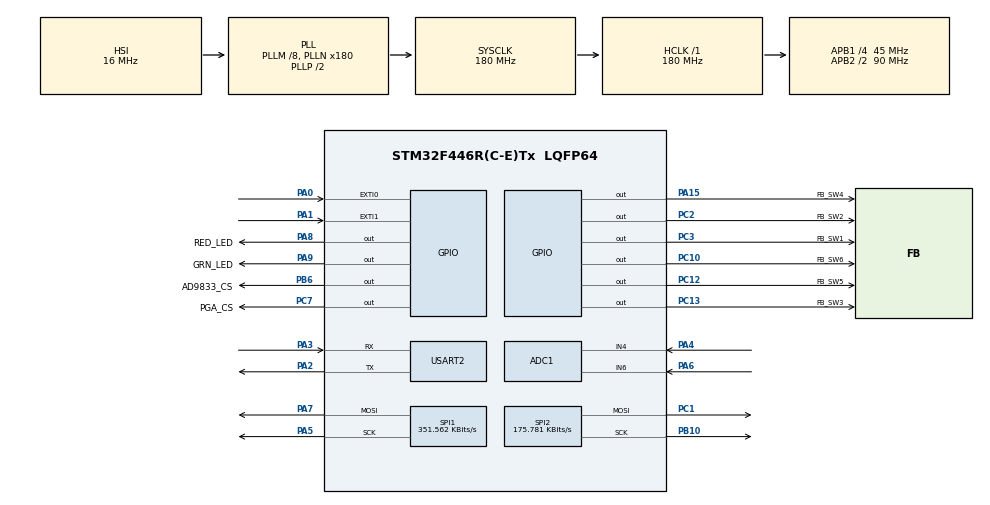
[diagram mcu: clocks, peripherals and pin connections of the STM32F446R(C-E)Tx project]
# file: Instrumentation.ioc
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ADC1.Channel-3\#ChannelRegularConversion=ADC_CHANNEL_4
ADC1.Channel-4\#ChannelRegularConversion=ADC_CHANNEL_6
ADC1.Channel-5\#ChannelRegularConversion=ADC_CHANNEL_TEMPSENSOR
ADC1.ClockPrescaler=ADC_CLOCK_SYNC_PCLK_DIV6
ADC1.ContinuousConvMode=ENABLE
ADC1.DMAContinuousRequests=ENABLE
ADC1.NbrOfConversion=3
ADC1.NbrOfConversionFlag=1
ADC1.Rank-3\#ChannelRegularConversion=1
ADC1.Rank-4\#ChannelRegularConversion=2
ADC1.Rank-5\#ChannelRegularConversion=3
ADC1.SamplingTime-3\#ChannelRegularConversion=ADC_SAMPLETIME_3CYCLES
ADC1.SamplingTime-4\#ChannelRegularConversion=ADC_SAMPLETIME_3CYCLES
ADC1.SamplingTime-5\#ChannelRegularConversion=ADC_SAMPLETIME_3CYCLES
ADC1.master=1
Dma.ADC1.0.Direction=DMA_PERIPH_TO_MEMORY
Dma.ADC1.0.FIFOMode=DMA_FIFOMODE_DISABLE
Dma.ADC1.0.Instance=DMA2_Stream0
Dma.ADC1.0.MemDataAlignment=DMA_MDATAALIGN_HALFWORD
Dma.ADC1.0.MemInc=DMA_MINC_ENABLE
Dma.ADC1.0.Mode=DMA_CIRCULAR
Dma.ADC1.0.PeriphDataAlignment=DMA_PDATAALIGN_HALFWORD
Dma.ADC1.0.PeriphInc=DMA_PINC_DISABLE
Dma.ADC1.0.Priority=DMA_PRIORITY_LOW
Dma.Request0=ADC1
Mcu.Family=STM32F4
Mcu.Name=STM32F446R(C-E)Tx
Mcu.Package=LQFP64
NVIC.DMA2_Stream0_IRQn=true\:0\:0\:false\:false\:true\:false\:true
NVIC.EXTI0_IRQn=true\:0\:0\:false\:false\:true\:true\:true
NVIC.EXTI1_IRQn=true\:0\:0\:false\:false\:true\:true\:true
NVIC.PriorityGroup=NVIC_PRIORITYGROUP_4
NVIC.TIM2_IRQn=true\:0\:0\:false\:false\:true\:true\:true
NVIC.TIM3_IRQn=true\:0\:0\:false\:false\:true\:true\:true
NVIC.USART2_IRQn=true\:0\:0\:false\:false\:true\:true\:true
PA0-WKUP.Signal=GPXTI0
PA1.Signal=GPXTI1
PA15.GPIO_Label=FB_SW4
PA15.GPIO_PuPd=GPIO_NOPULL
PA15.Signal=GPIO_Output
PA2.Mode=Asynchronous
PA2.Signal=USART2_TX
PA3.Mode=Asynchronous
PA3.Signal=USART2_RX
PA4.Signal=ADCx_IN4
PA5.Mode=TX_Only_Simplex_Unidirect_Master
PA5.Signal=SPI1_SCK
PA6.Signal=ADCx_IN6
PA7.Mode=TX_Only_Simplex_Unidirect_Master
PA7.Signal=SPI1_MOSI
PA8.GPIO_Label=RED_LED
PA8.GPIO_PuPd=GPIO_NOPULL
PA8.Signal=GPIO_Output
PA9.GPIO_Label=GRN_LED
PA9.Signal=GPIO_Output
PB10.Mode=TX_Only_Simplex_Unidirect_Master
PB10.Signal=SPI2_SCK
PB6.GPIO_Label=AD9833_CS
PB6.Signal=GPIO_Output
PC1.Mode=TX_Only_Simplex_Unidirect_Master
PC1.Signal=SPI2_MOSI
PC10.GPIO_Label=FB_SW6
PC10.Signal=GPIO_Output
PC12.GPIO_Label=FB_SW5
PC12.Signal=GPIO_Output
PC13.GPIO_Label=FB_SW3
PC13.GPIO_PuPd=GPIO_NOPULL
PC13.Signal=GPIO_Output
PC2.GPIO_Label=FB_SW2
PC2.Signal=GPIO_Output
PC3.GPIO_Label=FB_SW1
PC3.Signal=GPIO_Output
PC7.GPIO_Label=PGA_CS
PC7.Signal=GPIO_Output
ProjectManager.HeapSize=0x200
ProjectManager.StackSize=0x400
ProjectManager.TargetToolchain=STM32CubeIDE
RCC.AHBFreq_Value=180000000
RCC.APB1CLKDivider=RCC_HCLK_DIV4
RCC.APB1Freq_Value=45000000
RCC.APB1TimFreq_Value=90000000
RCC.APB2CLKDivider=RCC_HCLK_DIV2
RCC.APB2Freq_Value=90000000
RCC.APB2TimFreq_Value=180000000
RCC.CortexFreq_Value=180000000
RCC.HCLKFreq_Value=180000000
RCC.PLLM=8
RCC.PLLN=180
RCC.SYSCLKFreq_VALUE=180000000
RCC.SYSCLKSource=RCC_SYSCLKSOURCE_PLLCLK
RCC.USBFreq_Value=180000000
RCC.VCOOutputFreq_Value=360000000
SH.ADCx_IN4.0=ADC1_IN4,IN4
SH.ADCx_IN6.0=ADC1_IN6,IN6
SPI1.BaudRatePrescaler=SPI_BAUDRATEPRESCALER_256
SPI1.CLKPolarity=SPI_POLARITY_HIGH
SPI1.CalculateBaudRate=351.562 KBits/s
SPI1.DataSize=SPI_DATASIZE_16BIT
SPI1.Direction=SPI_DIRECTION_2LINES
SPI1.Mode=SPI_MODE_MASTER
SPI1.VirtualType=VM_MASTER
SPI2.BaudRatePrescaler=SPI_BAUDRATEPRESCALER_256
SPI2.CLKPhase=SPI_PHASE_1EDGE
SPI2.CalculateBaudRate=175.781 KBits/s
SPI2.DataSize=SPI_DATASIZE_16BIT
SPI2.Direction=SPI_DIRECTION_2LINES
SPI2.Mode=SPI_MODE_MASTER
SPI2.VirtualType=VM_MASTER
TIM2.Period=4294967295
TIM3.ClockDivision=TIM_CLOCKDIVISION_DIV1
TIM3.Period=65335
TIM3.Prescaler=89
USART2.VirtualMode=VM_ASYNC
VP_ADC1_TempSens_Input.Mode=IN-TempSens
VP_TIM2_VS_ClockSourceINT.Mode=Internal
VP_TIM3_VS_ClockSourceINT.Mode=Internal
board=custom

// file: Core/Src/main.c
/* USER CODE BEGIN Header */
/**
  ******************************************************************************
  * @file           : main.c
  * @brief          : Main program body
  ******************************************************************************
  * @attention
  *
  * <h2><center>&copy; Copyright (c) 2020 STMicroelectronics.
  * All rights reserved.</center></h2>
  *
  * This software component is licensed by ST under BSD 3-Clause license,
  * the "License"; You may not use this file except in compliance with the
  * License. You may obtain a copy of the License at:
  *                        opensource.org/licenses/BSD-3-Clause
  *
  ******************************************************************************
  */
/* USER CODE END Header */

#include "main.h"

/* USER CODE BEGIN Includes */
#include "string.h"
#include "stdbool.h"
/* USER CODE END Includes */

/* USER CODE BEGIN PD */
#define ADC_BUF_LEN 200
/* USER CODE END PD */

ADC_HandleTypeDef hadc1;
DMA_HandleTypeDef hdma_adc1;

SPI_HandleTypeDef hspi1;
SPI_HandleTypeDef hspi2;

TIM_HandleTypeDef htim2;
TIM_HandleTypeDef htim3;

UART_HandleTypeDef huart2;

/* USER CODE BEGIN PV */
uint16_t registerValues[5]; // Buffer to store calculated SPI Tx to transmit to ad9833
bool updateSignalFreqFlag = false; // Flag to request AD9833 frequency update#

uint8_t uartRxBytes[12]; // Buffer to store Recieved UART bytes
uint8_t uartTxBytes[12] = {0xFF, 0x00, 0x08, 0x00, 0x00, 0x00, 0x00, 0x00, 0x00, 0x00, 0x01, 0x00};

uint8_t pgaGainValue; // Value to store current PGA gain
bool updatePGAGainFlag = false; // Flag to request PGA gain update

/* Captured Values */
uint32_t CounterOneValue = 0;
uint32_t CounterTwoValue = 0;
uint32_t counterDifference = 0;

/* Capture index */
uint16_t startedCounting = 0;
bool newCaptureValue = false;
bool ledOnFlag = false;
measureFlag = false;

long refSignalFrequency = 0;

float firADC;
uint16_t rawADC;
uint32_t maxADC = 0;

bool autoMode = false;

uint16_t impedanceMag = 0;
uint16_t impedancePhase = 0;
uint16_t refVoltageMag = 0;
uint8_t refImpedance = 0x00;

// ADC stuff
ADC_HandleTypeDef hadc1;
DMA_HandleTypeDef hdma_adc1;
uint16_t adc_buf[ADC_BUF_LEN][3];

int waitCount = 0;
uint32_t loopCounter = 0;
uint8_t sysCount = 0;

/* USER CODE END PV */

void SystemClock_Config(void);
static void MX_GPIO_Init(void);
static void MX_DMA_Init(void);
static void MX_SPI1_Init(void);
static void MX_USART2_UART_Init(void);
static void MX_ADC1_Init(void);
static void MX_SPI2_Init(void);
static void MX_TIM3_Init(void);
static void MX_TIM2_Init(void);
/* USER CODE BEGIN PFP */
void UART_Rx_Handler(void);
void AD9833_Set_Output(void);
void PGA_Set_Gain(void);
bool CalculateRxDataChecksum(void);
uint8_t makeCheckSum(void);
uint16_t measureImpedanceMagnitude(void);
uint16_t measureRefVoltageMagnitude(void);
uint16_t measureImpedancePhase(void);
void sendImpedanceMessage(uint16_t mag, uint16_t phase, uint16_t refVoltage, uint8_t refImpedance);
void toggleRelay(uint8_t relay);
float calculateADCMean(void);

/* USER CODE END PFP */

int main(void)
{

  /* MCU Configuration--------------------------------------------------------*/

  /* Reset of all peripherals, Initializes the Flash interface and the Systick. */
  HAL_Init();

  /* Configure the system clock */
  SystemClock_Config();

  /* Initialize all configured peripherals */
  MX_GPIO_Init();
  MX_DMA_Init();
  MX_SPI1_Init();
  MX_USART2_UART_Init();
  MX_ADC1_Init();
  MX_SPI2_Init();
  MX_TIM3_Init();
  MX_TIM2_Init();
  /* USER CODE BEGIN 2 */

  // Set All SPI Periperal CS High
  HAL_GPIO_WritePin(PGA_CS_GPIO_Port, PGA_CS_Pin, GPIO_PIN_SET);
  HAL_GPIO_WritePin(AD9833_CS_GPIO_Port, AD9833_CS_Pin, GPIO_PIN_SET);

  // Reset AD9833
  HAL_Delay(10);
  uint16_t resetValue = 0x100;
  HAL_GPIO_WritePin(AD9833_CS_GPIO_Port, AD9833_CS_Pin, GPIO_PIN_RESET);
  HAL_SPI_Transmit(&hspi1, (uint8_t*)resetValue, sizeof(resetValue)/sizeof(uint16_t), HAL_MAX_DELAY);
  HAL_GPIO_WritePin(AD9833_CS_GPIO_Port, AD9833_CS_Pin, GPIO_PIN_SET);

  // Reset LEDS
  HAL_GPIO_WritePin(RED_LED_GPIO_Port, RED_LED_Pin, GPIO_PIN_RESET);
  HAL_GPIO_WritePin(GRN_LED_GPIO_Port, GRN_LED_Pin, GPIO_PIN_RESET);

  // UART interrupts
  HAL_UART_Receive_IT(&huart2, (uint8_t*)uartRxBytes, 12);
  //HAL_UART_Receive_DMA(&huart2, (uint8_t*)uartRxBytes, 1);

  // Start timer interrupts
  //HAL_TIM_IC_Start_IT(&htim2, TIM_CHANNEL_1);
  //HAL_TIM_IC_Start_IT(&htim2, TIM_CHANNEL_2);

  // Start ADC DMA thing
  HAL_ADC_Start_DMA(&hadc1, (uint32_t*)adc_buf, 3*ADC_BUF_LEN);

  HAL_TIM_Base_Start_IT(&htim3);
  HAL_TIM_Base_Start_IT(&htim2);

  // Set relays low

  HAL_GPIO_WritePin(FB_SW6_GPIO_Port, FB_SW6_Pin, GPIO_PIN_RESET);
  HAL_GPIO_WritePin(FB_SW5_GPIO_Port, FB_SW5_Pin, GPIO_PIN_RESET);
  HAL_GPIO_WritePin(FB_SW4_GPIO_Port, FB_SW4_Pin, GPIO_PIN_RESET);
  HAL_GPIO_WritePin(FB_SW3_GPIO_Port, FB_SW3_Pin, GPIO_PIN_RESET);
  HAL_GPIO_WritePin(FB_SW2_GPIO_Port, FB_SW2_Pin, GPIO_PIN_RESET);
  HAL_GPIO_WritePin(FB_SW1_GPIO_Port, FB_SW1_Pin, GPIO_PIN_RESET);

  /* USER CODE END 2 */

  /* Infinite loop */
  while (1)
  {

    /* USER CODE BEGIN 3 */
	  TIM3->CNT = 0;
	  // Start loop timer

	  if (newCaptureValue){
		 newCaptureValue = false;
	  }

	  // Send Data Packets to AD9833
	  if(updateSignalFreqFlag == true){
		  HAL_GPIO_WritePin(RED_LED_GPIO_Port, RED_LED_Pin, GPIO_PIN_SET);
		  AD9833_Set_Output();
		  updateSignalFreqFlag = false;
	  }
	  // Update PGA Gain
	  if(updatePGAGainFlag == true){
		  HAL_GPIO_WritePin(RED_LED_GPIO_Port, RED_LED_Pin, GPIO_PIN_SET);
		  PGA_Set_Gain();
		  updatePGAGainFlag = false;
	  }

	  if(measureFlag == true){
		  HAL_GPIO_WritePin(RED_LED_GPIO_Port, RED_LED_Pin, GPIO_PIN_SET);
		  impedanceMag = measureImpedanceMagnitude();
		  impedancePhase = measureImpedancePhase();
		  refVoltageMag = measureRefVoltageMagnitude();
		  sendImpedanceMessage(impedanceMag, impedancePhase, refVoltageMag, refImpedance);
		  measureFlag = false;
	  }

	  // Toggle LED pin to show we're alive
	  if (loopCounter % 1000 == 0) {
		  HAL_GPIO_TogglePin(GRN_LED_GPIO_Port, GRN_LED_Pin);
		  sysCount++;
	  }

	  if (loopCounter % 2000 == 0) {
		  // Send message
		  float avgADCtemp = 0;
		  for (int i = 0; i < ADC_BUF_LEN; i++) {
			  avgADCtemp += adc_buf[i][2];
		  }
		  float vTemp = ((3.3*(avgADCtemp / ADC_BUF_LEN)/4096 - 0.76) / 25 + 25);
		  asm("NOP");
		  HAL_GPIO_WritePin(RED_LED_GPIO_Port, RED_LED_Pin, GPIO_PIN_SET);
		  uartTxBytes[1] = 0x01;
		  uartTxBytes[3] = sysCount;
		  uint8_t checksum = makeCheckSum();
		  uartTxBytes[11] = checksum;
		  HAL_UART_Transmit_IT(&huart2, (uint8_t *)uartTxBytes, 12);
	  }

	  // Arbitrary Loop Delay To stop spamming everything
	  //HAL_Delay(10);

	  while (TIM3->CNT < 1000) {
		  // Do nothing
		  asm("NOP");
	  }
	  HAL_GPIO_WritePin(RED_LED_GPIO_Port, RED_LED_Pin, GPIO_PIN_RESET);
	  loopCounter++;

  }
  /* USER CODE END 3 */
}

void SystemClock_Config(void)
{
  RCC_OscInitTypeDef RCC_OscInitStruct = {0};
  RCC_ClkInitTypeDef RCC_ClkInitStruct = {0};

  /** Configure the main internal regulator output voltage
  */
  __HAL_RCC_PWR_CLK_ENABLE();
  __HAL_PWR_VOLTAGESCALING_CONFIG(PWR_REGULATOR_VOLTAGE_SCALE1);
  /** Initializes the CPU, AHB and APB busses clocks
  */
  RCC_OscInitStruct.OscillatorType = RCC_OSCILLATORTYPE_HSI;
  RCC_OscInitStruct.HSIState = RCC_HSI_ON;
  RCC_OscInitStruct.HSICalibrationValue = RCC_HSICALIBRATION_DEFAULT;
  RCC_OscInitStruct.PLL.PLLState = RCC_PLL_ON;
  RCC_OscInitStruct.PLL.PLLSource = RCC_PLLSOURCE_HSI;
  RCC_OscInitStruct.PLL.PLLM = 8;
  RCC_OscInitStruct.PLL.PLLN = 180;
  RCC_OscInitStruct.PLL.PLLP = RCC_PLLP_DIV2;
  RCC_OscInitStruct.PLL.PLLQ = 2;
  RCC_OscInitStruct.PLL.PLLR = 2;
  if (HAL_RCC_OscConfig(&RCC_OscInitStruct) != HAL_OK)
  {
    Error_Handler();
  }
  /** Activate the Over-Drive mode
  */
  if (HAL_PWREx_EnableOverDrive() != HAL_OK)
  {
    Error_Handler();
  }
  /** Initializes the CPU, AHB and APB busses clocks
  */
  RCC_ClkInitStruct.ClockType = RCC_CLOCKTYPE_HCLK|RCC_CLOCKTYPE_SYSCLK
                              |RCC_CLOCKTYPE_PCLK1|RCC_CLOCKTYPE_PCLK2;
  RCC_ClkInitStruct.SYSCLKSource = RCC_SYSCLKSOURCE_PLLCLK;
  RCC_ClkInitStruct.AHBCLKDivider = RCC_SYSCLK_DIV1;
  RCC_ClkInitStruct.APB1CLKDivider = RCC_HCLK_DIV4;
  RCC_ClkInitStruct.APB2CLKDivider = RCC_HCLK_DIV2;

  if (HAL_RCC_ClockConfig(&RCC_ClkInitStruct, FLASH_LATENCY_5) != HAL_OK)
  {
    Error_Handler();
  }
}

static void MX_ADC1_Init(void)
{

  ADC_ChannelConfTypeDef sConfig = {0};

  /** Configure the global features of the ADC (Clock, Resolution, Data Alignment and number of conversion)
  */
  hadc1.Instance = ADC1;
  hadc1.Init.ClockPrescaler = ADC_CLOCK_SYNC_PCLK_DIV6;
  hadc1.Init.Resolution = ADC_RESOLUTION_12B;
  hadc1.Init.ScanConvMode = ENABLE;
  hadc1.Init.ContinuousConvMode = ENABLE;
  hadc1.Init.DiscontinuousConvMode = DISABLE;
  hadc1.Init.ExternalTrigConvEdge = ADC_EXTERNALTRIGCONVEDGE_NONE;
  hadc1.Init.ExternalTrigConv = ADC_SOFTWARE_START;
  hadc1.Init.DataAlign = ADC_DATAALIGN_RIGHT;
  hadc1.Init.NbrOfConversion = 3;
  hadc1.Init.DMAContinuousRequests = ENABLE;
  hadc1.Init.EOCSelection = ADC_EOC_SINGLE_CONV;
  if (HAL_ADC_Init(&hadc1) != HAL_OK)
  {
    Error_Handler();
  }
  /** Configure for the selected ADC regular channel its corresponding rank in the sequencer and its sample time.
  */
  sConfig.Channel = ADC_CHANNEL_4;
  sConfig.Rank = 1;
  sConfig.SamplingTime = ADC_SAMPLETIME_3CYCLES;
  if (HAL_ADC_ConfigChannel(&hadc1, &sConfig) != HAL_OK)
  {
    Error_Handler();
  }
  /** Configure for the selected ADC regular channel its corresponding rank in the sequencer and its sample time.
  */
  sConfig.Channel = ADC_CHANNEL_6;
  sConfig.Rank = 2;
  if (HAL_ADC_ConfigChannel(&hadc1, &sConfig) != HAL_OK)
  {
    Error_Handler();
  }
  /** Configure for the selected ADC regular channel its corresponding rank in the sequencer and its sample time.
  */
  sConfig.Channel = ADC_CHANNEL_TEMPSENSOR;
  sConfig.Rank = 3;
  if (HAL_ADC_ConfigChannel(&hadc1, &sConfig) != HAL_OK)
  {
    Error_Handler();
  }

}

static void MX_SPI1_Init(void)
{

  /* SPI1 parameter configuration*/
  hspi1.Instance = SPI1;
  hspi1.Init.Mode = SPI_MODE_MASTER;
  hspi1.Init.Direction = SPI_DIRECTION_2LINES;
  hspi1.Init.DataSize = SPI_DATASIZE_16BIT;
  hspi1.Init.CLKPolarity = SPI_POLARITY_HIGH;
  hspi1.Init.CLKPhase = SPI_PHASE_1EDGE;
  hspi1.Init.NSS = SPI_NSS_SOFT;
  hspi1.Init.BaudRatePrescaler = SPI_BAUDRATEPRESCALER_256;
  hspi1.Init.FirstBit = SPI_FIRSTBIT_MSB;
  hspi1.Init.TIMode = SPI_TIMODE_DISABLE;
  hspi1.Init.CRCCalculation = SPI_CRCCALCULATION_DISABLE;
  hspi1.Init.CRCPolynomial = 10;
  if (HAL_SPI_Init(&hspi1) != HAL_OK)
  {
    Error_Handler();
  }

}

static void MX_SPI2_Init(void)
{

  /* SPI2 parameter configuration*/
  hspi2.Instance = SPI2;
  hspi2.Init.Mode = SPI_MODE_MASTER;
  hspi2.Init.Direction = SPI_DIRECTION_2LINES;
  hspi2.Init.DataSize = SPI_DATASIZE_16BIT;
  hspi2.Init.CLKPolarity = SPI_POLARITY_LOW;
  hspi2.Init.CLKPhase = SPI_PHASE_1EDGE;
  hspi2.Init.NSS = SPI_NSS_SOFT;
  hspi2.Init.BaudRatePrescaler = SPI_BAUDRATEPRESCALER_256;
  hspi2.Init.FirstBit = SPI_FIRSTBIT_MSB;
  hspi2.Init.TIMode = SPI_TIMODE_DISABLE;
  hspi2.Init.CRCCalculation = SPI_CRCCALCULATION_DISABLE;
  hspi2.Init.CRCPolynomial = 10;
  if (HAL_SPI_Init(&hspi2) != HAL_OK)
  {
    Error_Handler();
  }

}

static void MX_TIM2_Init(void)
{

  TIM_ClockConfigTypeDef sClockSourceConfig = {0};
  TIM_MasterConfigTypeDef sMasterConfig = {0};

  htim2.Instance = TIM2;
  htim2.Init.Prescaler = 0;
  htim2.Init.CounterMode = TIM_COUNTERMODE_UP;
  htim2.Init.Period = 4294967295;
  htim2.Init.ClockDivision = TIM_CLOCKDIVISION_DIV1;
  htim2.Init.AutoReloadPreload = TIM_AUTORELOAD_PRELOAD_DISABLE;
  if (HAL_TIM_Base_Init(&htim2) != HAL_OK)
  {
    Error_Handler();
  }
  sClockSourceConfig.ClockSource = TIM_CLOCKSOURCE_INTERNAL;
  if (HAL_TIM_ConfigClockSource(&htim2, &sClockSourceConfig) != HAL_OK)
  {
    Error_Handler();
  }
  sMasterConfig.MasterOutputTrigger = TIM_TRGO_RESET;
  sMasterConfig.MasterSlaveMode = TIM_MASTERSLAVEMODE_DISABLE;
  if (HAL_TIMEx_MasterConfigSynchronization(&htim2, &sMasterConfig) != HAL_OK)
  {
    Error_Handler();
  }

}

static void MX_TIM3_Init(void)
{

  TIM_ClockConfigTypeDef sClockSourceConfig = {0};
  TIM_MasterConfigTypeDef sMasterConfig = {0};

  htim3.Instance = TIM3;
  htim3.Init.Prescaler = 89;
  htim3.Init.CounterMode = TIM_COUNTERMODE_UP;
  htim3.Init.Period = 65335;
  htim3.Init.ClockDivision = TIM_CLOCKDIVISION_DIV1;
  htim3.Init.AutoReloadPreload = TIM_AUTORELOAD_PRELOAD_DISABLE;
  if (HAL_TIM_Base_Init(&htim3) != HAL_OK)
  {
    Error_Handler();
  }
  sClockSourceConfig.ClockSource = TIM_CLOCKSOURCE_INTERNAL;
  if (HAL_TIM_ConfigClockSource(&htim3, &sClockSourceConfig) != HAL_OK)
  {
    Error_Handler();
  }
  sMasterConfig.MasterOutputTrigger = TIM_TRGO_RESET;
  sMasterConfig.MasterSlaveMode = TIM_MASTERSLAVEMODE_DISABLE;
  if (HAL_TIMEx_MasterConfigSynchronization(&htim3, &sMasterConfig) != HAL_OK)
  {
    Error_Handler();
  }

}

static void MX_USART2_UART_Init(void)
{

  huart2.Instance = USART2;
  huart2.Init.BaudRate = 115200;
  huart2.Init.WordLength = UART_WORDLENGTH_8B;
  huart2.Init.StopBits = UART_STOPBITS_1;
  huart2.Init.Parity = UART_PARITY_NONE;
  huart2.Init.Mode = UART_MODE_TX_RX;
  huart2.Init.HwFlowCtl = UART_HWCONTROL_NONE;
  huart2.Init.OverSampling = UART_OVERSAMPLING_16;
  if (HAL_UART_Init(&huart2) != HAL_OK)
  {
    Error_Handler();
  }

}

static void MX_DMA_Init(void)
{

  /* DMA controller clock enable */
  __HAL_RCC_DMA2_CLK_ENABLE();

  /* DMA interrupt init */
  /* DMA2_Stream0_IRQn interrupt configuration */
  HAL_NVIC_SetPriority(DMA2_Stream0_IRQn, 0, 0);
  HAL_NVIC_EnableIRQ(DMA2_Stream0_IRQn);

}

static void MX_GPIO_Init(void)
{
  GPIO_InitTypeDef GPIO_InitStruct = {0};

  /* GPIO Ports Clock Enable */
  __HAL_RCC_GPIOC_CLK_ENABLE();
  __HAL_RCC_GPIOA_CLK_ENABLE();
  __HAL_RCC_GPIOB_CLK_ENABLE();

  /*Configure GPIO pin Output Level */
  HAL_GPIO_WritePin(GPIOC, FB_SW3_Pin|FB_SW2_Pin|FB_SW1_Pin|PGA_CS_Pin
                          |FB_SW6_Pin|FB_SW5_Pin, GPIO_PIN_RESET);

  /*Configure GPIO pin Output Level */
  HAL_GPIO_WritePin(GPIOA, RED_LED_Pin|GRN_LED_Pin|FB_SW4_Pin, GPIO_PIN_RESET);

  /*Configure GPIO pin Output Level */
  HAL_GPIO_WritePin(AD9833_CS_GPIO_Port, AD9833_CS_Pin, GPIO_PIN_RESET);

  /*Configure GPIO pins : FB_SW3_Pin FB_SW2_Pin FB_SW1_Pin PGA_CS_Pin
                           FB_SW6_Pin FB_SW5_Pin */
  GPIO_InitStruct.Pin = FB_SW3_Pin|FB_SW2_Pin|FB_SW1_Pin|PGA_CS_Pin
                          |FB_SW6_Pin|FB_SW5_Pin;
  GPIO_InitStruct.Mode = GPIO_MODE_OUTPUT_PP;
  GPIO_InitStruct.Pull = GPIO_NOPULL;
  GPIO_InitStruct.Speed = GPIO_SPEED_FREQ_LOW;
  HAL_GPIO_Init(GPIOC, &GPIO_InitStruct);

  /*Configure GPIO pins : PA0 PA1 */
  GPIO_InitStruct.Pin = GPIO_PIN_0|GPIO_PIN_1;
  GPIO_InitStruct.Mode = GPIO_MODE_IT_RISING;
  GPIO_InitStruct.Pull = GPIO_NOPULL;
  HAL_GPIO_Init(GPIOA, &GPIO_InitStruct);

  /*Configure GPIO pins : RED_LED_Pin GRN_LED_Pin FB_SW4_Pin */
  GPIO_InitStruct.Pin = RED_LED_Pin|GRN_LED_Pin|FB_SW4_Pin;
  GPIO_InitStruct.Mode = GPIO_MODE_OUTPUT_PP;
  GPIO_InitStruct.Pull = GPIO_NOPULL;
  GPIO_InitStruct.Speed = GPIO_SPEED_FREQ_LOW;
  HAL_GPIO_Init(GPIOA, &GPIO_InitStruct);

  /*Configure GPIO pin : AD9833_CS_Pin */
  GPIO_InitStruct.Pin = AD9833_CS_Pin;
  GPIO_InitStruct.Mode = GPIO_MODE_OUTPUT_PP;
  GPIO_InitStruct.Pull = GPIO_NOPULL;
  GPIO_InitStruct.Speed = GPIO_SPEED_FREQ_LOW;
  HAL_GPIO_Init(AD9833_CS_GPIO_Port, &GPIO_InitStruct);

  /* EXTI interrupt init*/
  HAL_NVIC_SetPriority(EXTI0_IRQn, 0, 0);
  HAL_NVIC_EnableIRQ(EXTI0_IRQn);

  HAL_NVIC_SetPriority(EXTI1_IRQn, 0, 0);
  HAL_NVIC_EnableIRQ(EXTI1_IRQn);

}

/* USER CODE BEGIN 4 */

float calculateADCMean(void) {
	float adcMean = 0;
	for (int i = 0; i < ADC_BUF_LEN; i++) {
	  adcMean += adc_buf[i][0];
	}
	adcMean /= (float)ADC_BUF_LEN;
	return adcMean;
}

uint16_t measureImpedanceMagnitude(void) {
	int prevVal = 4096;
	float adcMean = calculateADCMean();
	if (autoMode) {
		int i = 1;
		while (i < 7) {
			switch(i){
				case 1 :
					toggleRelay(0x01);
					break;
				case 2 :
					toggleRelay(0x02);
					break;
				case 3 :
					toggleRelay(0x03);
					break;
				case 4 :
					toggleRelay(0x04);
					break;
				case 5:
					toggleRelay(0x05);
					break;
				case 6:
					toggleRelay(0x06);
					break;
				default:
					break;
			}
			HAL_Delay(10);
			adcMean = calculateADCMean();
			i++;

			if (adcMean < prevVal) {
				i = 1000;
			}
			prevVal = adcMean;
		}

		if (i != 1000) {
			uint8_t message[12] = {0xFF, 0x09, 0x08, 0x00, 0x00, 0x00, 0x00, 0x00, 0x00, 0x00, 0x01, 0x00};
			uint8_t checksum = makeCheckSum();
			uartTxBytes[11] = checksum;
			HAL_UART_Transmit_IT(&huart2, (uint8_t *)message, 12);

		}
	}

	return (uint16_t)adcMean;
}

uint16_t measureRefVoltageMagnitude(void) {
	float refMean = 0;
	for (int i = 0; i < ADC_BUF_LEN; i++) {
	  refMean += adc_buf[i][1];
	}
	refMean /= (float)ADC_BUF_LEN;

	return (uint16_t)refMean;
}

uint16_t measureImpedancePhase(void) {
	int freq = (int)refSignalFrequency;
	double period = 1.0 / (double)freq;

	double periodTicks = (period * 90000000);
	double count = counterDifference;
	uint16_t phase = (uint16_t)(360.0 * count / periodTicks);

	return phase;
}

void sendImpedanceMessage(uint16_t mag, uint16_t phase, uint16_t refVoltage, uint8_t refImpedance) {
	uartTxBytes[1] = 0x03;

	uartTxBytes[3] = mag & 0xFF;
	uartTxBytes[4] = mag >> 8;

	uartTxBytes[5] = refVoltage & 0xFF;
	uartTxBytes[6] = refVoltage >> 8;

	uartTxBytes[7] = phase & 0xFF;
	uartTxBytes[8] = phase >> 8;

	uartTxBytes[9] = refImpedance;
	uartTxBytes[10] = 0x00;

	uint8_t checksum = makeCheckSum();
	uartTxBytes[11] = checksum;
	HAL_UART_Transmit_IT(&huart2, (uint8_t *)uartTxBytes, 12);
	measureFlag = false;
}

void toggleRelay(uint8_t relay) {
	switch(relay)
		{
		case(0x01):
				refImpedance = 0x01;
				HAL_GPIO_WritePin(FB_SW1_GPIO_Port, FB_SW1_Pin, GPIO_PIN_SET);
				//HAL_Delay(10);
				HAL_GPIO_WritePin(FB_SW6_GPIO_Port, FB_SW6_Pin, GPIO_PIN_RESET);
		  	  	HAL_GPIO_WritePin(FB_SW5_GPIO_Port, FB_SW5_Pin, GPIO_PIN_RESET);
		  	  	HAL_GPIO_WritePin(FB_SW4_GPIO_Port, FB_SW4_Pin, GPIO_PIN_RESET);
		  	  	HAL_GPIO_WritePin(FB_SW3_GPIO_Port, FB_SW3_Pin, GPIO_PIN_RESET);
		  	  	HAL_GPIO_WritePin(FB_SW2_GPIO_Port, FB_SW2_Pin, GPIO_PIN_RESET);
				break;
		case(0x02):
				refImpedance = 0x02;
				HAL_GPIO_WritePin(FB_SW2_GPIO_Port, FB_SW2_Pin, GPIO_PIN_SET);
				//HAL_Delay(10);
				HAL_GPIO_WritePin(FB_SW6_GPIO_Port, FB_SW6_Pin, GPIO_PIN_RESET);
				HAL_GPIO_WritePin(FB_SW5_GPIO_Port, FB_SW5_Pin, GPIO_PIN_RESET);
				HAL_GPIO_WritePin(FB_SW4_GPIO_Port, FB_SW4_Pin, GPIO_PIN_RESET);
				HAL_GPIO_WritePin(FB_SW3_GPIO_Port, FB_SW3_Pin, GPIO_PIN_RESET);
				HAL_GPIO_WritePin(FB_SW1_GPIO_Port, FB_SW1_Pin, GPIO_PIN_RESET);
				break;
		case(0x03):
				refImpedance = 0x03;
				HAL_GPIO_WritePin(FB_SW3_GPIO_Port, FB_SW3_Pin, GPIO_PIN_SET);
				//HAL_Delay(10);
				HAL_GPIO_WritePin(FB_SW6_GPIO_Port, FB_SW6_Pin, GPIO_PIN_RESET);
				HAL_GPIO_WritePin(FB_SW5_GPIO_Port, FB_SW5_Pin, GPIO_PIN_RESET);
				HAL_GPIO_WritePin(FB_SW4_GPIO_Port, FB_SW4_Pin, GPIO_PIN_RESET);
				HAL_GPIO_WritePin(FB_SW2_GPIO_Port, FB_SW2_Pin, GPIO_PIN_RESET);
				HAL_GPIO_WritePin(FB_SW1_GPIO_Port, FB_SW1_Pin, GPIO_PIN_RESET);
				break;
		case(0x04):
				refImpedance = 0x04;
				HAL_GPIO_WritePin(FB_SW4_GPIO_Port, FB_SW4_Pin, GPIO_PIN_SET);
				//HAL_Delay(10);
				HAL_GPIO_WritePin(FB_SW6_GPIO_Port, FB_SW6_Pin, GPIO_PIN_RESET);
				HAL_GPIO_WritePin(FB_SW5_GPIO_Port, FB_SW5_Pin, GPIO_PIN_RESET);
				HAL_GPIO_WritePin(FB_SW3_GPIO_Port, FB_SW3_Pin, GPIO_PIN_RESET);
				HAL_GPIO_WritePin(FB_SW2_GPIO_Port, FB_SW2_Pin, GPIO_PIN_RESET);
				HAL_GPIO_WritePin(FB_SW1_GPIO_Port, FB_SW1_Pin, GPIO_PIN_RESET);
				break;
		case(0x05):
				refImpedance = 0x05;
				HAL_GPIO_WritePin(FB_SW5_GPIO_Port, FB_SW5_Pin, GPIO_PIN_SET);
				//HAL_Delay(10);
				HAL_GPIO_WritePin(FB_SW6_GPIO_Port, FB_SW6_Pin, GPIO_PIN_RESET);
				HAL_GPIO_WritePin(FB_SW4_GPIO_Port, FB_SW4_Pin, GPIO_PIN_RESET);
				HAL_GPIO_WritePin(FB_SW3_GPIO_Port, FB_SW3_Pin, GPIO_PIN_RESET);
				HAL_GPIO_WritePin(FB_SW2_GPIO_Port, FB_SW2_Pin, GPIO_PIN_RESET);
				HAL_GPIO_WritePin(FB_SW1_GPIO_Port, FB_SW1_Pin, GPIO_PIN_RESET);
				break;
		case(0x06):
				refImpedance = 0x06;
				HAL_GPIO_WritePin(FB_SW6_GPIO_Port, FB_SW6_Pin, GPIO_PIN_SET);
				//HAL_Delay(10);
				HAL_GPIO_WritePin(FB_SW5_GPIO_Port, FB_SW5_Pin, GPIO_PIN_RESET);
				HAL_GPIO_WritePin(FB_SW4_GPIO_Port, FB_SW4_Pin, GPIO_PIN_RESET);
				HAL_GPIO_WritePin(FB_SW3_GPIO_Port, FB_SW3_Pin, GPIO_PIN_RESET);
				HAL_GPIO_WritePin(FB_SW2_GPIO_Port, FB_SW2_Pin, GPIO_PIN_RESET);
				HAL_GPIO_WritePin(FB_SW1_GPIO_Port, FB_SW1_Pin, GPIO_PIN_RESET);
				break;
		default:
			break;
		}
}

void HAL_UART_RxCpltCallback(UART_HandleTypeDef *huart)
{
	// Handle Recieved Message
	UART_Rx_Handler();

	// Stage Rx of Next UART Message
	HAL_UART_Receive_IT(&huart2, (uint8_t*)uartRxBytes, 12);
}

void HAL_GPIO_EXTI_Callback(uint16_t GPIO_Pin){
	if(GPIO_Pin == 0)
		TIM2->CNT = 0;
	else if(GPIO_Pin == 1)
		counterDifference = TIM2->CNT;
}

void UART_Rx_Handler(void)
{

	if(uartRxBytes[0] != 0xFF) 	// If header byte is not first byte abandon
		return;

	//Calculate Checksum to Check Data is Valid
	if(!CalculateRxDataChecksum())
		return;

	// Data is valid so handle it

	maxADC = 0;
	int freq = 0;
	int signal = 0;
	// Switch on Data ID
	switch(uartRxBytes[1])
	{
	case(0x00):
			break;
	case(0x01):
			break;
	case(0x02):
			measureFlag = true;
			break;
	case(0x04): // frequency change message
			freq = uartRxBytes[6] | ((int)uartRxBytes[5] << 8) | ((int)uartRxBytes[4] << 16) | ((int)uartRxBytes[3] << 24);
			signal = uartRxBytes[10] | ((int)uartRxBytes[9] << 8) | ((int)uartRxBytes[8] << 16) | ((int)uartRxBytes[7] << 24);
			AD9833CalculateRegister(freq, signal);
			// Set Update Frequency Flag so AD9833 updates in main task loop
			updateSignalFreqFlag = true;
			refSignalFrequency = freq;
			break;
	case(0x05): // set PGA gain message
			pgaGainValue = uartRxBytes[3];
			updatePGAGainFlag = true;
			break;
	case(0x06): // toggle relay
			toggleRelay(uartRxBytes[3]);
			break;
	case(0x07): // set autoMode
			autoMode = false;
			break;
	case(0x08): // reset autoMode
			autoMode = true;
			break;
	default:
		break;
	}
}

uint8_t makeCheckSum(void) {
	uint8_t result = 0;

	int i;
	// Checksum is bitwise xor of all bytes except checksum
	for(i = 0; i < (sizeof(uartTxBytes)/sizeof(uint8_t) - 1); i++)
		result = result ^ uartTxBytes[i];
	return result;
}

bool CalculateRxDataChecksum(void)
{
	uint8_t result = 0;

	int i;
	// Checksum is bitwise xor of all bytes except checksum
	for(i = 0; i < (sizeof(uartRxBytes)/sizeof(uint8_t) - 1); i++)
		result = result ^ uartRxBytes[i];

	if(result == uartRxBytes[i])
		return true;
	else
		return false;
}

void AD9833_Set_Output(void)
{
	HAL_GPIO_WritePin(AD9833_CS_GPIO_Port, AD9833_CS_Pin, GPIO_PIN_RESET);
	uint16_t size = 1;
	uint8_t * base = (uint8_t*)registerValues;
	uint8_t * dataPointer = (uint8_t*)registerValues;
	while(dataPointer < base + sizeof(registerValues))
	{
		//HAL_GPIO_WritePin(AD9833_CS_GPIO_Port, AD9833_CS_Pin, GPIO_PIN_RESET);
		HAL_SPI_Transmit(&hspi1, dataPointer, size, HAL_MAX_DELAY);
		//HAL_GPIO_WritePin(AD9833_CS_GPIO_Port, AD9833_CS_Pin, GPIO_PIN_SET);
		dataPointer += sizeof(uint16_t);
	}
	HAL_GPIO_WritePin(AD9833_CS_GPIO_Port, AD9833_CS_Pin, GPIO_PIN_SET);
}

void PGA_Set_Gain(void)
{
	// 8 bit values for seperate instruction and control registers
	// Channel select register is not needed as single channel device used
	uint8_t instructionReg = 0x40; // write to gain register
	uint8_t controlReg;

	// Switch on allowable gain values, and set relevant bits in control reg
	switch(pgaGainValue){
	case 0x0 : // TODO implement shutdown/sleep whatever its called
		break;
	case 1 :
		controlReg = 0x0;
		break;
	case 2 :
		controlReg = 0x1;
		break;
	case 4 :
		controlReg = 0x2;
		break;
	case 5 :
		controlReg = 0x3;
		break;
	case 8:
		controlReg = 0x4;
		break;
	case 10:
		controlReg = 0x5;
		break;
	case 16:
		controlReg = 0x6;
		break;
	case 32:
		controlReg = 0x7;
		break;
	default:	// gain was not valid so don't send a command
		return;
	}

	// Assemble data to send via SPI
	uint16_t spiWord = ((uint16_t)instructionReg << 8) | controlReg;

	// Get Data pointer
	uint8_t * dataAddr = &spiWord;

	// Set CS Low
	HAL_GPIO_WritePin(PGA_CS_GPIO_Port, PGA_CS_Pin, GPIO_PIN_RESET);
	// Send SPI data
	HAL_SPI_Transmit(&hspi2, dataAddr, sizeof(spiWord)/sizeof(uint16_t), HAL_MAX_DELAY);
	// Set CS High
	HAL_GPIO_WritePin(PGA_CS_GPIO_Port, PGA_CS_Pin, GPIO_PIN_SET);

}

/* USER CODE END 4 */

void Error_Handler(void)
{
}

/************************ (C) COPYRIGHT STMicroelectronics *****END OF FILE****/
